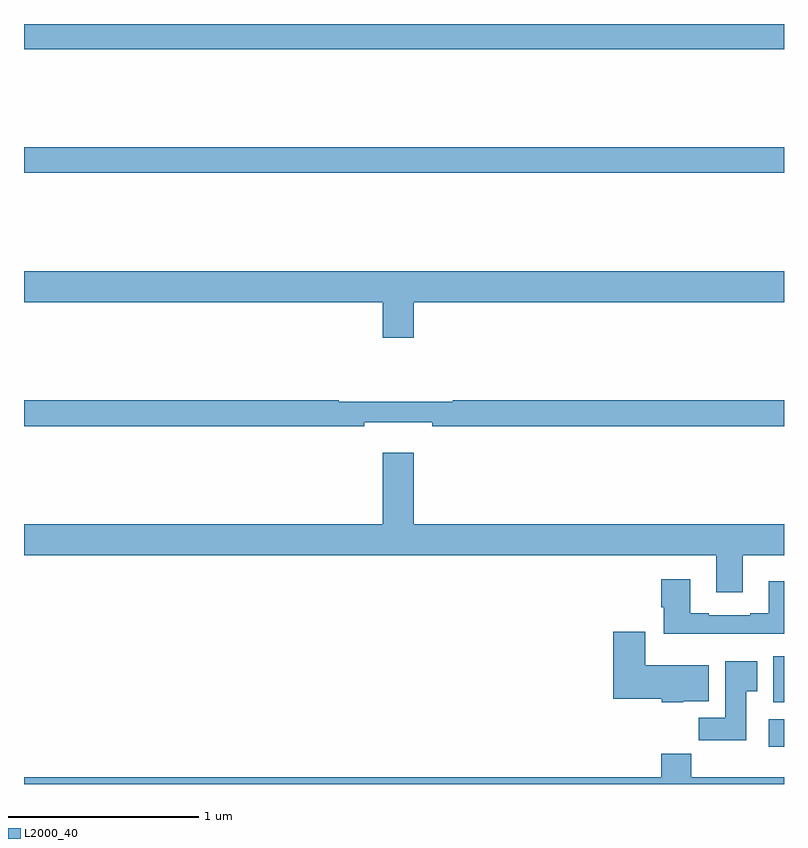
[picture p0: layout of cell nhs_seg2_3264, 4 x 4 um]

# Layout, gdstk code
import gdstk
lib = gdstk.Library(unit=1e-6, precision=1e-09)
def R(c, l, rs):  # rectangles x0, y0, x1, y1
    for r in rs: c.add(gdstk.rectangle(r[:2], r[2:], *l))
def P(c, l, *ps):  # polygons
    for p in ps: c.add(gdstk.Polygon(p, *l))
L2000_40 = (2000, 40)

nhs_seg2_3264 = lib.new_cell('nhs_seg2_3264')
R(nhs_seg2_3264, L2000_40, [(286.919,611.996,287,612.142), (286.943,612.23,287,612.472), (283,615.016,287,615.152), (283,615.668,287,615.8)])
P(nhs_seg2_3264, L2000_40, [(285.052,614.336),(287,614.336),(287,614.5),(283,614.5),(283,614.336),(284.888,614.336),(284.888,614.148),(285.052,614.148)],
  [(284.792,613.703),(285.148,613.703),(285.148,613.684),(287,613.684),(287,613.82),(285.256,613.82),(285.256,613.813),(284.656,613.813),(284.656,613.82),(283,613.82),(283,613.684),(284.792,613.684)],
  [(286.783,613.004),(287,613.004),(287,613.168),(285.052,613.168),(285.052,613.543),(284.888,613.543),(284.888,613.168),(283,613.168),(283,613.004),(286.643,613.004),(286.643,612.81),(286.783,612.81)],
  [(287,612.868),(286.919,612.868),(286.919,612.7),(286.823,612.7),(286.823,612.687),(286.603,612.687),(286.603,612.7),(286.507,612.7),(286.507,612.877),(286.355,612.877),(286.355,612.729),(286.367,612.729),(286.367,612.59),(287,612.59)],
  [(286.47,612.236),(286.603,612.236),(286.603,612.424),(286.27,612.424),(286.27,612.601),(286.1,612.601),(286.1,612.248),(286.356,612.248),(286.356,612.23),(286.47,612.23)],
  [(286.801,612.289),(286.858,612.289),(286.858,612.445),(286.691,612.445),(286.691,612.148),(286.552,612.148),(286.552,612.03),(286.801,612.03)],
  [(287,611.836),(286.511,611.836),(286.511,611.96),(286.355,611.96),(286.355,611.836),(283,611.836),(283,611.8),(287,611.8)])

lib.write_gds('nhs_seg2_3264.gds')
